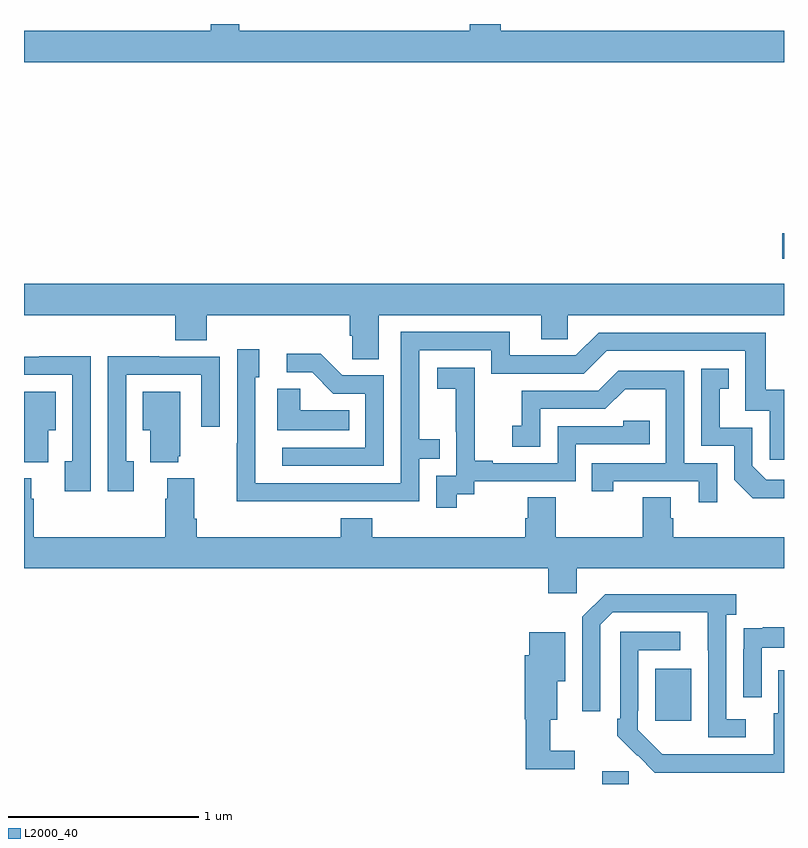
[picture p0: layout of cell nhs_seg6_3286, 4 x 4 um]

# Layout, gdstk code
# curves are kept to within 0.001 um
import gdstk
lib = gdstk.Library(unit=1e-6, precision=1e-09)
def R(c, l, rs):  # rectangles x0, y0, x1, y1
    for r in rs: c.add(gdstk.rectangle(r[:2], r[2:], *l))
def P(c, l, *ps):  # polygons
    for p in ps: c.add(gdstk.Polygon(p, *l))
L2000_40 = (2000, 40)

nhs_seg6_3286 = lib.new_cell('nhs_seg6_3286')
R(nhs_seg6_3286, L2000_40, [(306.044,979.5,306.183,979.566), (306.323,979.833,306.511,980.107), (306.99,982.265,307,982.4)])
P(nhs_seg6_3286, L2000_40, [(307,983.464),(305.51,983.464),(305.51,983.5),(305.345,983.5),(305.345,983.464),(304.134,983.464),(304.134,983.5),(303.983,983.5),(303.983,983.464),(303,983.464),(303,983.3),(307,983.3)],
  [(304.867,981.968),(305.723,981.968),(305.723,981.841),(305.862,981.841),(305.862,981.968),(307,981.968),(307,982.132),(303,982.132),(303,981.968),(303.797,981.968),(303.797,981.835),(303.962,981.835),(303.962,981.968),(304.715,981.968),(304.715,981.859),(304.728,981.859),(304.728,981.736),(304.867,981.736)],
  [(304.583,980.988),(305.079,980.988),(305.079,981.213),(305.189,981.213),(305.189,981.314),(305.079,981.314),(305.079,981.783),(305.46,981.783),(305.46,981.66),(305.946,981.66),(306.066,981.78),(306.795,981.78),(306.795,981.465),(306.924,981.465),(306.924,981.207),(307,981.207),(307,981.574),(306.904,981.574),(306.904,981.876),(306.024,981.876),(305.904,981.756),(305.557,981.756),(305.557,981.879),(304.983,981.879),(304.983,981.084),(304.218,981.084),(304.218,981.642),(304.237,981.642),(304.237,981.787),(304.122,981.787),(304.122,981.293),(304.12,981.293),(304.12,980.987)],
  [(304.893,981.651),(304.674,981.651),(304.561,981.764),(304.383,981.764),(304.383,981.666),(304.517,981.666),(304.628,981.555),(304.797,981.555),(304.797,981.27),(304.359,981.27),(304.359,981.174),(304.893,981.174)],
  [(303.577,981.198),(303.537,981.198),(303.537,981.654),(303.933,981.654),(303.933,981.381),(304.029,981.381),(304.029,981.75),(303.713,981.75),(303.713,981.752),(303.441,981.752),(303.441,981.042),(303.577,981.042)],
  [(303.351,981.752),(303.079,981.752),(303.079,981.75),(303,981.75),(303,981.654),(303.255,981.654),(303.255,981.198),(303.215,981.198),(303.215,981.042),(303.351,981.042)],
  [(305.278,981.025),(305.37,981.025),(305.37,981.093),(305.904,981.093),(305.904,981.288),(306.293,981.288),(306.293,981.411),(306.153,981.411),(306.153,981.384),(305.808,981.384),(305.808,981.189),(305.467,981.189),(305.467,981.202),(305.372,981.202),(305.372,981.485),(305.373,981.485),(305.373,981.691),(305.175,981.691),(305.175,981.581),(305.273,981.581),(305.273,981.353),(305.274,981.353),(305.274,981.123),(305.169,981.123),(305.169,980.955),(305.278,980.955)],
  [(307,981.102),(306.906,981.102),(306.834,981.174),(306.834,981.375),(306.661,981.375),(306.661,981.579),(306.71,981.579),(306.71,981.685),(306.564,981.685),(306.564,981.279),(306.738,981.279),(306.738,981.102),(306.836,981.005),(307,981.005)],
  [(306.648,981.189),(306.474,981.189),(306.474,981.675),(306.128,981.675),(306.023,981.57),(305.62,981.57),(305.62,981.385),(305.571,981.385),(305.571,981.276),(305.718,981.276),(305.718,981.474),(306.06,981.474),(306.164,981.578),(306.378,981.578),(306.378,981.189),(305.989,981.189),(305.989,981.042),(306.1,981.042),(306.1,981.093),(306.551,981.093),(306.551,980.982),(306.648,980.982)],
  [(304.712,981.466),(304.455,981.466),(304.455,981.581),(304.334,981.581),(304.334,981.362),(304.712,981.362)],
  [(303.127,981.362),(303.166,981.362),(303.166,981.565),(303,981.565),(303,981.194),(303.127,981.194)],
  [(303.812,981.225),(303.823,981.225),(303.823,981.565),(303.626,981.565),(303.626,981.362),(303.665,981.362),(303.665,981.194),(303.812,981.194)],
  [(305.651,981.008),(305.651,980.898),(305.639,980.898),(305.639,980.8),(304.832,980.8),(304.832,980.899),(304.667,980.899),(304.667,980.8),(303.908,980.8),(303.908,980.896),(303.895,980.896),(303.895,981.109),(303.755,981.109),(303.755,981.002),(303.743,981.002),(303.743,980.8),(303.05,980.8),(303.05,981.002),(303.037,981.002),(303.037,981.109),(303,981.109),(303,980.636),(305.759,980.636),(305.759,980.505),(305.91,980.505),(305.91,980.636),(307,980.636),(307,980.8),(306.416,980.8),(306.416,980.898),(306.403,980.898),(306.403,981.008),(306.256,981.008),(306.256,980.8),(305.799,980.8),(305.799,981.008)],
  [(306.799,979.842),(306.696,979.842),(306.696,980.39),(306.748,980.39),(306.748,980.5),(306.058,980.5),(305.937,980.379),(305.937,979.884),(306.033,979.884),(306.033,980.337),(306.099,980.403),(306.599,980.403),(306.6,979.746),(306.799,979.746)],
  [(306.882,980.217),(307,980.217),(307,980.326),(306.889,980.326),(306.889,980.319),(306.787,980.319),(306.787,980.21),(306.786,980.21),(306.786,979.956),(306.882,979.956)],
  [(307,980.098),(306.971,980.098),(306.971,979.872),(306.947,979.872),(306.947,979.656),(306.36,979.657),(306.231,979.785),(306.231,979.885),(306.234,979.885),(306.234,980.205),(306.454,980.205),(306.454,980.301),(306.138,980.301),(306.138,979.843),(306.123,979.843),(306.123,979.755),(306.32,979.56),(307,979.56)],
  [(305.899,979.675),(305.77,979.675),(305.77,979.838),(305.806,979.838),(305.806,980.042),(305.848,980.042),(305.848,980.299),(305.66,980.299),(305.66,980.178),(305.636,980.178),(305.636,979.842),(305.641,979.842),(305.641,979.578),(305.899,979.578)])

lib.write_gds('nhs_seg6_3286.gds')
